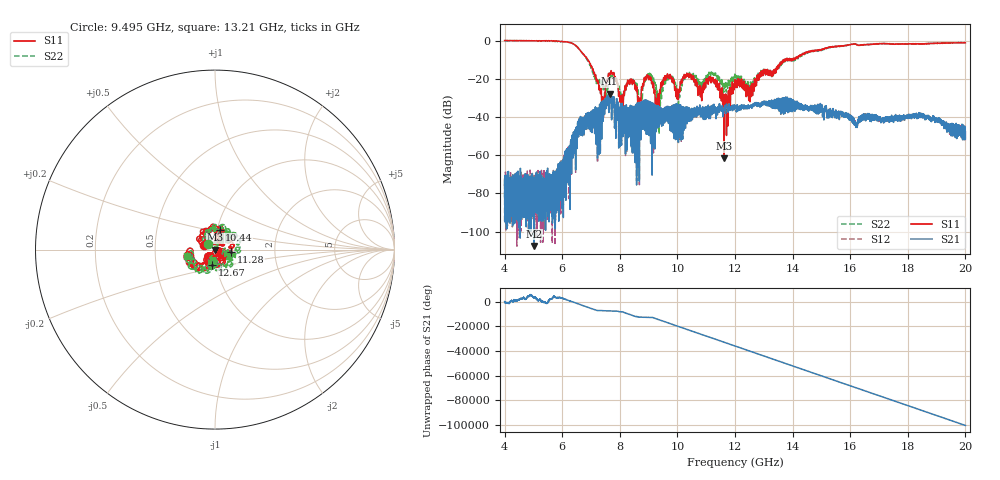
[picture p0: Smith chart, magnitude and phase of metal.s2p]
[Version] 2.0
! Rohde & Schwarz Vector Network Analyzer
! Rohde-Schwarz,ZNL20-2Port,1323001220200009,1.71.1.10-23.02.1.238
! Port Assignments:
! Nominal Port -> Actual Test Port
!  1 -> 1
!  2 -> 2
! Created: GMT+2 2025-01-16 20:29:07
# Hz S RI R 50
[Number of Ports] 2
[Two-Port Data Order] 21_12
! freq[Hz]  S11[Re]  S11[Im]  S21[Re]  S21[Im]  S12[Re]  S12[Im]  S22[Re]  S22[Im]
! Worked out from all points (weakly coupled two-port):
!   16001 points, 4 GHz to 20 GHz, reference 50 ohm
!   highest |S21| = -27.89 dB at 7.644 GHz (marker M1); lowest = -107.5 dB at 5.012 GHz (marker M2)
!   lowest |S11| = -61.6 dB at 11.62 GHz (marker M3), VSWR 1.00, Z = 50.1 - j0.011 ohm
!   |S11| at or under -10 dB: 6.89 GHz to 13.71 GHz (6.816 GHz wide, 66.2 % of centre); 13.72097 GHz to 13.7487 GHz (27.72 MHz wide, 0.202 % of centre); 13.94859 GHz to 13.97242 GHz (23.83 MHz wide, 0.171 % of centre) (the widest 3 of 9)
!   |S22| runs from -49.0 to 0.0 dB; largest |S21 - S12| = 0.0022
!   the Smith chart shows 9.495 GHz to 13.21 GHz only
!   S11 on the Smith chart (normalised r, x): 9.495 GHz: 0.88, +0.05; 10.44 GHz: 1.03, +0.23; 11.28 GHz: 1.20, -0.03; 12.67 GHz: 0.95, -0.16; 13.21 GHz: 0.73, -0.05
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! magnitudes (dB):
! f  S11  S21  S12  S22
! 4 GHz  0.0  -82.5  -94.6  -0.2
! 5.012 GHz  -0.1  -107.5  -84.4  -0.2
! 5.778 GHz  -0.2  -74.8  -72.3  -0.4
! 6.667 GHz  -5.9  -44.0  -43.6  -5.9
! 7.405 GHz  -29.7  -33.7  -33.8  -22.1
! 7.644 GHz  -17.3  -27.9  -28.0  -19.8
! 8.042 GHz  -37.1  -34.5  -34.6  -30.0
! 8.431 GHz  -22.9  -41.2  -41.0  -21.7
! 8.71 GHz  -31.3  -33.4  -33.5  -37.8
! 9.01 GHz  -20.5  -34.8  -34.9  -18.8
! 9.334 GHz  -28.1  -34.3  -34.3  -33.5
! 9.495 GHz  -23.2  -40.3  -40.0  -26.1
! 10.01 GHz  -26.1  -33.4  -33.4  -27.5
! 10.44 GHz  -18.9  -36.0  -36.1  -17.8
! 11.28 GHz  -20.8  -36.0  -36.0  -17.9
! 11.62 GHz  -61.6  -35.9  -36.0  -24.0
! 12 GHz  -20.5  -34.9  -35.0  -18.0
! 12.67 GHz  -21.4  -33.6  -33.8  -19.6
! 13.21 GHz  -16.1  -33.2  -33.1  -15.9
! 14.67 GHz  -5.3  -35.1  -35.0  -5.6
! 17.33 GHz  -1.7  -40.4  -40.6  -1.7
! 20 GHz  -1.2  -47.7  -52.1  -1.1
